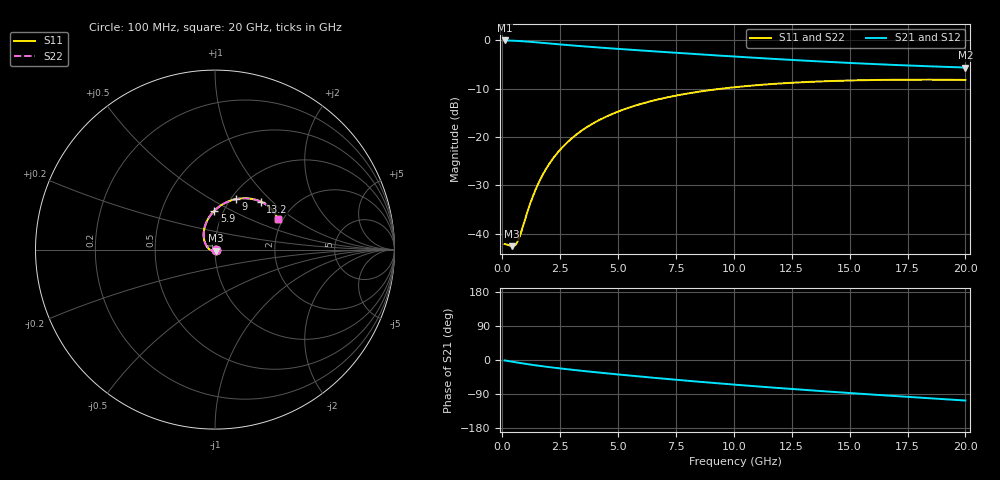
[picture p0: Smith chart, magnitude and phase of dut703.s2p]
! Touchstone file exported from HFSS 2024.1.0
!  File:  C:/UserFiles/LocalFiles/RDL_TSV_Batchsim/temp_RDL_TSV_703_1779885983.aedt
!  Generated:  09:01:52 PM May 27, 2026
!  Design:  RDL_TSV
!  Project:  temp_RDL_TSV_703_1779885983
!  Setup:  Setup1
!  Solution:  Sweep
! Variables:
!  dtsv = 11.12um
!  hbump = 3um
!  htsv = 57.97um
!  ldown = 264.1um
!  lrdl = 139.06um
!  p = 40
!  p1 = 53.24um
!  rhole = 10um
!  subl = 1348.54um
!  t = 450um
!  tdown = 4.62um
!  trdl = 2.58um
!  viad = 10um
!  wdown = 20.28um
!  wrdl = 19.09um
!  xbump = 18um
# GHz S MA R 50.000000
! Terminal data exported
! Port[1] = TM1_1_T1
! Port[2] = TM1_4_T1
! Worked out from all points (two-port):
!   200 points, 100 MHz to 20 GHz, reference 50 ohm
!   highest |S21| = -0.07 dB at 100 MHz (marker M1); lowest = -5.7 dB at 20 GHz (marker M2)
!   |S21| within 3 dB of the highest: start of sweep to 8.954 GHz
!   lowest |S11| = -42.6 dB at 400 MHz (marker M3), VSWR 1.01, Z = 50.5 - j0.577 ohm
!   |S11| at or under -10 dB: start of sweep to 9.523 GHz
!   |S22| runs from -42.6 to -8.2 dB; largest |S21 - S12| = 1.2e-14
!   S11 on the Smith chart (normalised r, x): 100 MHz: 1.02, -0.00; 5.9 GHz: 0.90, +0.41; 9 GHz: 1.06, +0.66; 13.2 GHz: 1.38, +0.85; 20 GHz: 1.88, +0.75
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0.1  0.007826 -10.3  0.9918 -1.1  0.9918 -1.1  0.007826 -10.3
! Gamma 0 0 0 0
! Port Impedance 50 0 50 0
0.4  0.007438 -50.2  0.9875 -4.2  0.9875 -4.2  0.007442 -50.1
0.5  0.00745 -67.8  0.9852 -5.2  0.9852 -5.2  0.007456 -67.8
0.6  0.007816 -86.8  0.9826 -6.2  0.9826 -6.2  0.007821 -86.8
0.7  0.00869 -105.6  0.9797 -7.2  0.9797 -7.2  0.008692 -105.5
1.1  0.01723 -157.4  0.9651 -11.0  0.9651 -11.0  0.01721 -157.3
1.3  0.02361 -172.3  0.9566 -12.8  0.9566 -12.8  0.02358 -172.2
1.6  0.03475 171.7  0.9431 -15.4  0.9431 -15.4  0.0347 171.8
1.9  0.04714 159.7  0.9293 -17.8  0.9293 -17.8  0.04706 159.8
2.2  0.06027 150.1  0.9157 -20.1  0.9157 -20.1  0.06018 150.1
2.6  0.07839 139.5  0.8982 -23.0  0.8982 -23.0  0.07826 139.5
3  0.0967 130.7  0.8816 -25.7  0.8816 -25.7  0.09654 130.7
3.5  0.1193 121.4  0.8624 -29.0  0.8624 -29.0  0.1191 121.4
4.6  0.1666 105.4  0.8243 -35.7  0.8243 -35.7  0.1663 105.4
5.9  0.2162 91.1  0.7844 -43.3  0.7844 -43.3  0.2158 91.1
6.8  0.2462 83.0  0.7587 -48.4  0.7587 -48.4  0.2457 83.0
9  0.305 67.3  0.701 -59.9  0.701 -59.9  0.3045 67.3
10.1  0.3274 60.9  0.6748 -65.4  0.6748 -65.4  0.3269 60.9
13.2  0.3697 46.4  0.6111 -79.5  0.6111 -79.5  0.369 46.4
13.4  0.3715 45.6  0.6075 -80.4  0.6075 -80.4  0.3708 45.6
16.7  0.389 34.3  0.5569 -94.1  0.5569 -94.1  0.3882 34.3
20  0.3878 25.8  0.5209 -107.0  0.5209 -107.0  0.3871 25.8
